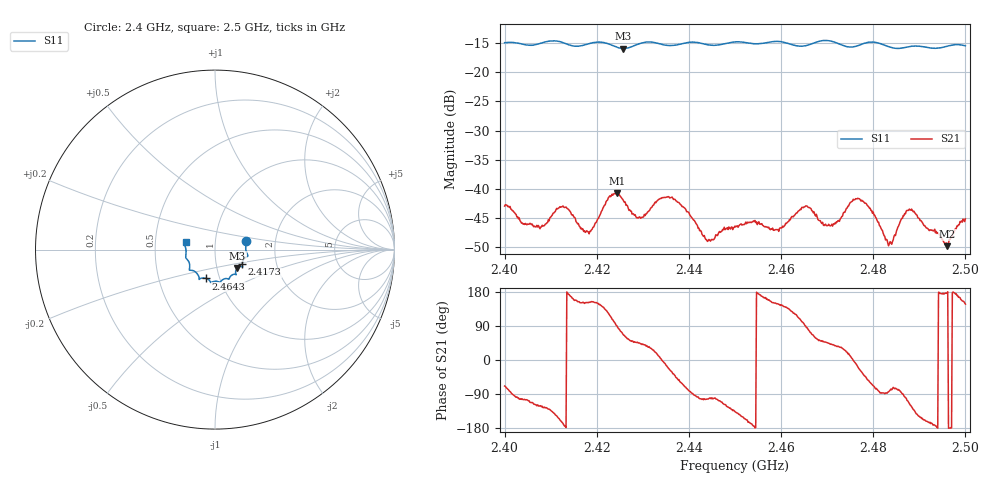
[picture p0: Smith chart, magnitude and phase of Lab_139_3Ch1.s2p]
# Hz S RI R 50
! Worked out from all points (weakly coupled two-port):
!   601 points, 2.4 GHz to 2.5 GHz, reference 50 ohm
!   highest |S21| = -40.82 dB at 2.4243 GHz (marker M1); lowest = -49.9 dB at 2.496 GHz (marker M2)
!   lowest |S11| = -15.9 dB at 2.4257 GHz (marker M3), VSWR 1.38, Z = 62.5 - j13.2 ohm
!   |S11| at or under -10 dB: start of sweep to end of sweep
!   S12 and S22 are empty: the file has one direction only
!   S11 on the Smith chart (normalised r, x): 2.4 GHz: 1.41, +0.14; 2.4173 GHz: 1.34, -0.22; 2.4643 GHz: 0.86, -0.28; 2.5 GHz: 0.72, +0.06
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2.4e9  0.1735 0.0492  0.00258 -0.00659  0 0  0 0
2.407333e9  0.1751 -0.0142  -0.0025 -0.00412  0 0  0 0
2.413e9  0.1739 -0.0415  -0.00684 -0.000699  0 0  0 0
2.416667e9  0.1526 -0.0743  -0.00401 0.00221  0 0  0 0
2.417333e9  0.1518 -0.0815  -0.00374 0.00222  0 0  0 0
2.418833e9  0.1527 -0.094  -0.00398 0.00192  0 0  0 0
2.424333e9  0.1345 -0.0955  -0.000104 0.0091  0 0  0 0
2.425667e9  0.1234 -0.1027  0.00298 0.00749  0 0  0 0
2.429167e9  0.1156 -0.1329  0.00401 0.00402  0 0  0 0
2.433333e9  0.1123 -0.1374  0.00786 0.0016  0 0  0 0
2.4375e9  0.0844 -0.1509  0.00497 -0.00583  0 0  0 0
2.444167e9  0.062 -0.161  -0.000816 -0.00347  0 0  0 0
2.45e9  0.0287 -0.1811  -0.00345 -0.0033  0 0  0 0
2.459e9  -0.0226 -0.1836  -0.00378 0.00234  0 0  0 0
2.464333e9  -0.0497 -0.1606  -0.0016 0.00641  0 0  0 0
2.466667e9  -0.0758 -0.1593  0.00244 0.00598  0 0  0 0
2.471e9  -0.0877 -0.1631  0.00371 0.00325  0 0  0 0
2.477167e9  -0.1283 -0.1157  0.00718 -0.00365  0 0  0 0
2.483333e9  -0.1405 -0.0895  0.000348 -0.0032  0 0  0 0
2.487833e9  -0.1589 -0.0512  -0.00277 -0.00607  0 0  0 0
2.496e9  -0.1666 0.0197  -0.00319 0.000197  0 0  0 0
2.5e9  -0.1639 0.0429  -0.00464 0.00295  0 0  0 0
